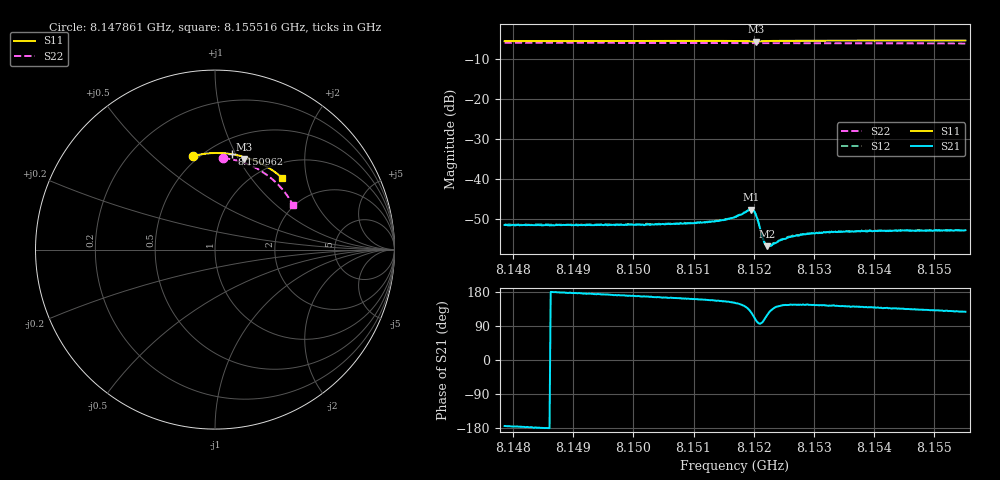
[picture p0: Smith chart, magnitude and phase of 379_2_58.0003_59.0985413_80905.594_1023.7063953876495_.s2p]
#  HZ  S  RI  R  50.00
! Rohde & Schwarz Vector Network Analyzer
! Rohde-Schwarz,ZNB20-2Port,1311601062101988,3.16
! Created: UTC 3/21/2024, 1:07:15 AM
! freq[Hz]  re:S11  im:S11  re:S21  im:S21  re:S12  im:S12  re:S22  im:S22
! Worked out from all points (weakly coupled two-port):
!   401 points, 8.147861 GHz to 8.155516 GHz, reference 50 ohm
!   highest |S21| = -47.76 dB at 8.151957 GHz (marker M1); lowest = -56.9 dB at 8.152225 GHz (marker M2)
!   lowest |S11| = -5.5 dB at 8.152033 GHz (marker M3), VSWR 3.25, Z = 37.6 + j52.7 ohm
!   |S11| at or under -10 dB: nowhere
!   |S22| runs from -6.0 to -5.8 dB; largest |S21 - S12| = 0.00013
!   S11 on the Smith chart (normalised r, x): 8.147861 GHz: 0.47, +0.68; 8.150962 GHz: 0.64, +0.96; 8.155516 GHz: 1.26, +1.44
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8.1478614e9  -0.1208 0.5212  -0.00261 -0.000269  -0.00268 -0.000228  0.0453 0.5103
8.1491437e9  -0.0327 0.5364  -0.00262 0.000177  -0.00265 0.000258  0.1272 0.4947
8.1504259e9  0.0565 0.5366  -0.0026 0.000664  -0.00264 0.000714  0.2046 0.466
8.1509617e9  0.0938 0.5321  -0.00262 0.000878  -0.00265 0.000952  0.2352 0.4507
8.1513827e9  0.1233 0.5264  -0.0027 0.00119  -0.00273 0.00122  0.2584 0.437
8.1516889e9  0.1453 0.5204  -0.00289 0.00161  -0.0029 0.00166  0.2747 0.4261
8.1519186e9  0.1615 0.5103  -0.00277 0.00296  -0.00274 0.00297  0.2867 0.4176
8.1519569e9  0.1627 0.5076  -0.00237 0.00333  -0.00236 0.00339  0.2885 0.4162
8.1519951e9  0.1625 0.5052  -0.00174 0.00357  -0.00173 0.00361  0.2902 0.4146
8.1520334e9  0.1613 0.5043  -0.000969 0.00342  -0.000942 0.00347  0.2921 0.4133
8.1520717e9  0.1606 0.5055  -0.000424 0.00292  -0.000377 0.00292  0.294 0.412
8.1521482e9  0.1643 0.5093  -0.000323 0.00178  -0.000296 0.0018  0.2979 0.4092
8.1521865e9  0.1672 0.5102  -0.000504 0.00143  -0.000476 0.00145  0.2998 0.4077
8.1522248e9  0.1705 0.5105  -0.000689 0.00125  -0.000712 0.00128  0.3019 0.4063
8.1522822e9  0.1753 0.5103  -0.00093 0.0011  -0.000926 0.00111  0.3048 0.4041
8.1524544e9  0.1885 0.5077  -0.00139 0.00102  -0.00137 0.00103  0.3133 0.3973
8.1526075e9  0.1994 0.5044  -0.00154 0.00103  -0.00156 0.00106  0.3208 0.391
8.152818e9  0.2137 0.4992  -0.00169 0.00112  -0.00163 0.00112  0.3308 0.3821
8.1529711e9  0.2237 0.495  -0.00169 0.00118  -0.00168 0.0012  0.3377 0.3756
8.1535453e9  0.26 0.4781  -0.00171 0.00136  -0.00173 0.00137  0.3631 0.3496
8.1542533e9  0.3026 0.4536  -0.00162 0.00152  -0.00161 0.00155  0.3917 0.3157
8.1555164e9  0.3719 0.401  -0.00137 0.0018  -0.00137 0.00182  0.4341 0.2493
